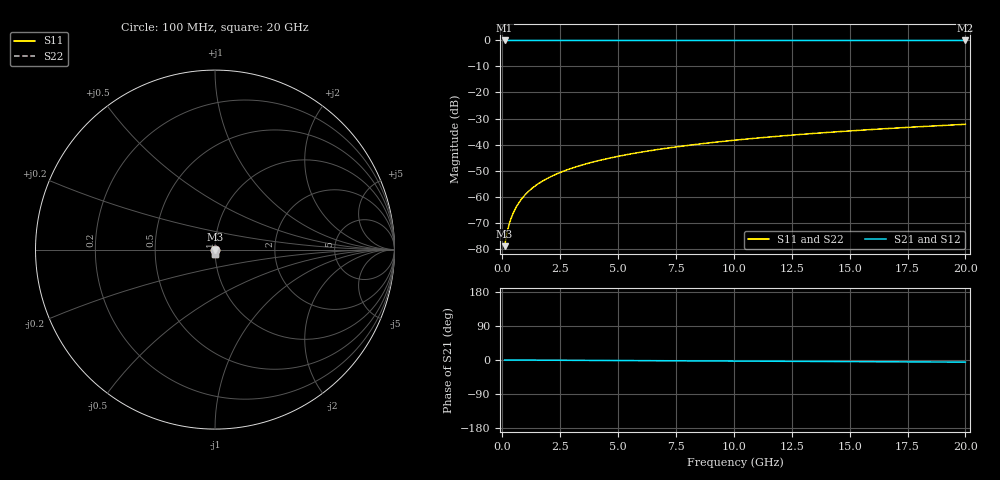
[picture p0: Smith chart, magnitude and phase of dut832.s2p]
! Touchstone file exported from HFSS 2026.1.0
!  File:  C:/ffzhzh/LocalFiles/Ansys_Project_Files/temp_train_TSV_832_1783184738_43440.aedt
!  Generated:  01:06:58 AM Jul  5, 2026
!  Design:  TSV
!  Project:  temp_train_TSV_832_1783184738_43440
! Variables:
!  h_bsmrdl = 2um
!  h_ox = 20um
!  h_rdl = 5um
!  h_sub = 52.25um
!  h_tmrdl = 5um
!  h_tsv = 52.25um
!  h_via = 3um
!  l_bsmrdl = 300um
!  l_sub = 427.64um
!  l_tmrdl = 200um
!  m_sub = 200um
!  pitch = 43.68um
!  r_tsv = 13.82um
!  s_tmrdl = 10um
!  w_bsmrdl = 18um
!  w_sub = 500um
!  w_tmrdl = 12um
!  x_tsv_center1 = 206um
!  x_tsv_center2 = 524um
!  x_tsv_center3 = 736um
!  x_tsv_center4 = 1054um
!  x_tsv_center5 = 1266um
!  x_tsv_center6 = 1584um
# GHz S MA R 50.000000
! Terminal data exported
! Port[1] = TSV1_1_T1
! Port[2] = TSV1_1_T2
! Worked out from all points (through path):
!   200 points, 100 MHz to 20 GHz, reference 50 ohm
!   highest |S21| = 0.00 dB at 100 MHz (marker M1); lowest = 0.0 dB at 20 GHz (marker M2)
!   lowest |S11| = -79.1 dB at 100 MHz (marker M3), VSWR 1.00, Z = 50 - j0.00922 ohm
!   |S11| at or under -10 dB: start of sweep to end of sweep
!   |S22| runs from -79.1 to -32.2 dB; largest |S21 - S12| = 1e-15
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0.1  0.0001114 -55.9  0.9999 -0.0  0.9999 -0.0  0.0001114 -55.9
! Gamma 0 0 0 0
! Port Impedance 50 0 50 0
0.2  0.0002004 -68.9  0.9999 -0.1  0.9999 -0.1  0.0002004 -68.9
0.3  0.0002988 -73.3  0.9999 -0.1  0.9999 -0.1  0.0002988 -73.3
0.4  0.0004034 -75.3  0.9999 -0.1  0.9999 -0.1  0.0004034 -75.3
0.5  0.000513 -76.6  0.9999 -0.1  0.9999 -0.1  0.000513 -76.6
0.7  0.0007422 -78.4  0.9998 -0.2  0.9998 -0.2  0.0007422 -78.4
0.8  0.0008599 -79.2  0.9998 -0.2  0.9998 -0.2  0.0008599 -79.2
1  0.001098 -80.4  0.9998 -0.3  0.9998 -0.3  0.001098 -80.4
1.2  0.001339 -81.5  0.9998 -0.3  0.9998 -0.3  0.001339 -81.5
1.4  0.00158 -82.4  0.9998 -0.4  0.9998 -0.4  0.00158 -82.4
1.7  0.001941 -83.4  0.9998 -0.5  0.9998 -0.5  0.001941 -83.4
2  0.002302 -84.2  0.9997 -0.6  0.9997 -0.6  0.002302 -84.2
2.7  0.003144 -85.5  0.9997 -0.8  0.9997 -0.8  0.003144 -85.5
3.5  0.004109 -86.5  0.9997 -1.0  0.9997 -1.0  0.004109 -86.5
4.2  0.004957 -87.1  0.9996 -1.2  0.9996 -1.2  0.004957 -87.1
5  0.005931 -87.7  0.9996 -1.4  0.9996 -1.4  0.005931 -87.7
6.8  0.008136 -88.7  0.9995 -1.9  0.9995 -1.9  0.008136 -88.7
8.3  0.009982 -89.5  0.9994 -2.3  0.9994 -2.3  0.009982 -89.5
10.1  0.0122 -90.2  0.9994 -2.8  0.9994 -2.8  0.0122 -90.2
13.4  0.01628 -91.5  0.9992 -3.8  0.9992 -3.8  0.01628 -91.5
16.7  0.02037 -92.7  0.9991 -4.7  0.9991 -4.7  0.02037 -92.7
20  0.02447 -93.8  0.9989 -5.6  0.9989 -5.6  0.02447 -93.8
